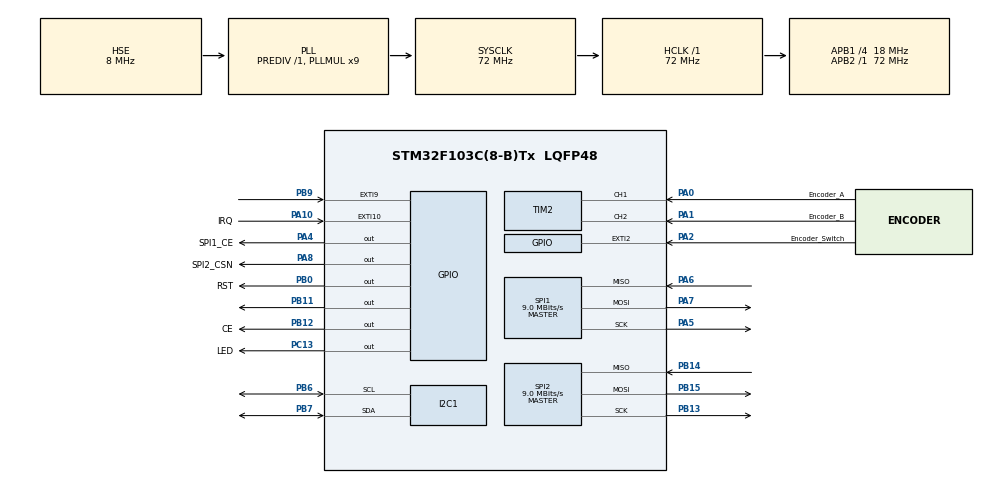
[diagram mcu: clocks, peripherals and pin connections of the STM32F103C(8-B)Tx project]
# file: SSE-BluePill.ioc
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I2C1.I2C_Mode=I2C_Fast
Mcu.Family=STM32F1
Mcu.Name=STM32F103C(8-B)Tx
Mcu.Package=LQFP48
NVIC.EXTI15_10_IRQn=true\:0\:0\:false\:false\:true\:true\:true\:true
NVIC.EXTI2_IRQn=true\:0\:0\:false\:false\:true\:true\:true\:true
NVIC.EXTI9_5_IRQn=true\:0\:0\:false\:false\:true\:true\:true\:true
NVIC.PriorityGroup=NVIC_PRIORITYGROUP_4
NVIC.TIM2_IRQn=true\:0\:0\:false\:false\:true\:true\:true\:true
NVIC.TIM3_IRQn=true\:0\:0\:true\:false\:true\:true\:true\:true
NVIC.TIM4_IRQn=true\:0\:0\:false\:false\:true\:true\:true\:true
PA0-WKUP.GPIO_Label=Encoder_A
PA0-WKUP.GPIO_PuPd=GPIO_PULLUP
PA0-WKUP.Signal=S_TIM2_CH1_ETR
PA1.GPIO_Label=Encoder_B
PA1.GPIO_PuPd=GPIO_PULLUP
PA1.Signal=S_TIM2_CH2
PA10.GPIO_Label=IRQ
PA10.GPIO_ModeDefaultEXTI=GPIO_MODE_IT_FALLING
PA10.Signal=GPXTI10
PA13.Mode=Serial_Wire
PA13.Signal=SYS_JTMS-SWDIO
PA14.Mode=Serial_Wire
PA14.Signal=SYS_JTCK-SWCLK
PA2.GPIO_Label=Encoder_Switch
PA2.GPIO_PuPd=GPIO_PULLUP
PA2.Signal=GPXTI2
PA4.GPIO_Label=SPI1_CE
PA4.GPIO_Speed=GPIO_SPEED_FREQ_HIGH
PA4.Signal=GPIO_Output
PA5.Mode=Full_Duplex_Master
PA5.Signal=SPI1_SCK
PA6.Mode=Full_Duplex_Master
PA6.Signal=SPI1_MISO
PA7.Mode=Full_Duplex_Master
PA7.Signal=SPI1_MOSI
PA8.GPIO_Label=SPI2_CSN
PA8.GPIO_Speed=GPIO_SPEED_FREQ_HIGH
PA8.PinState=GPIO_PIN_SET
PA8.Signal=GPIO_Output
PB0.GPIO_Label=RST
PB0.GPIO_Speed=GPIO_SPEED_FREQ_HIGH
PB0.PinState=GPIO_PIN_SET
PB0.Signal=GPIO_Output
PB11.GPIO_PuPd=GPIO_NOPULL
PB11.Signal=GPIO_Output
PB12.GPIO_Label=CE
PB12.GPIO_Speed=GPIO_SPEED_FREQ_HIGH
PB12.Signal=GPIO_Output
PB13.Mode=Full_Duplex_Master
PB13.Signal=SPI2_SCK
PB14.Mode=Full_Duplex_Master
PB14.Signal=SPI2_MISO
PB15.Mode=Full_Duplex_Master
PB15.Signal=SPI2_MOSI
PB6.Mode=I2C
PB6.Signal=I2C1_SCL
PB7.Mode=I2C
PB7.Signal=I2C1_SDA
PB9.GPIO_ModeDefaultEXTI=GPIO_MODE_IT_RISING_FALLING
PB9.Signal=GPXTI9
PC13-TAMPER-RTC.GPIO_Label=LED
PC13-TAMPER-RTC.Signal=GPIO_Output
PC14-OSC32_IN.Mode=LSE-External-Oscillator
PC14-OSC32_IN.Signal=RCC_OSC32_IN
PC15-OSC32_OUT.Mode=LSE-External-Oscillator
PC15-OSC32_OUT.Signal=RCC_OSC32_OUT
PD0-OSC_IN.Mode=HSE-External-Oscillator
PD0-OSC_IN.Signal=RCC_OSC_IN
PD1-OSC_OUT.Mode=HSE-External-Oscillator
PD1-OSC_OUT.Signal=RCC_OSC_OUT
ProjectManager.HeapSize=0x200
ProjectManager.StackSize=0x400
ProjectManager.TargetToolchain=STM32CubeIDE
RCC.AHBFreq_Value=72000000
RCC.APB1CLKDivider=RCC_HCLK_DIV4
RCC.APB1Freq_Value=18000000
RCC.APB1TimFreq_Value=36000000
RCC.APB2Freq_Value=72000000
RCC.APB2TimFreq_Value=72000000
RCC.HCLKFreq_Value=72000000
RCC.PLLMUL=RCC_PLL_MUL9
RCC.PLLSourceVirtual=RCC_PLLSOURCE_HSE
RCC.RTCClockSelection=RCC_RTCCLKSOURCE_LSE
RCC.SYSCLKFreq_VALUE=72000000
RCC.SYSCLKSource=RCC_SYSCLKSOURCE_PLLCLK
RCC.USBFreq_Value=72000000
SH.S_TIM2_CH1_ETR.0=TIM2_CH1,Encoder_Interface
SH.S_TIM2_CH2.0=TIM2_CH2,Encoder_Interface
SPI1.BaudRatePrescaler=SPI_BAUDRATEPRESCALER_8
SPI1.CalculateBaudRate=9.0 MBits/s
SPI1.Direction=SPI_DIRECTION_2LINES
SPI1.Mode=SPI_MODE_MASTER
SPI1.VirtualType=VM_MASTER
SPI2.BaudRatePrescaler=SPI_BAUDRATEPRESCALER_2
SPI2.CalculateBaudRate=9.0 MBits/s
SPI2.Direction=SPI_DIRECTION_2LINES
SPI2.Mode=SPI_MODE_MASTER
SPI2.VirtualType=VM_MASTER
TIM2.AutoReloadPreload=TIM_AUTORELOAD_PRELOAD_ENABLE
TIM2.EncoderMode=TIM_ENCODERMODE_TI12
TIM2.IC1Filter=10
TIM2.IC1Polarity=TIM_ICPOLARITY_RISING
TIM2.IC2Polarity=TIM_ICPOLARITY_RISING
TIM3.Period=36000 - 1
TIM3.Prescaler=0
TIM4.Period=30000
TIM4.Prescaler=36000 - 1
VP_TIM3_VS_ClockSourceINT.Mode=Internal
VP_TIM4_VS_ClockSourceINT.Mode=Internal
board=custom

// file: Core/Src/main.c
/* USER CODE BEGIN Header */
/**
  ******************************************************************************
  * @file           : main.c
  * @brief          : Main program body
  ******************************************************************************
  * @attention
  *
  * Copyright (c) 2024 STMicroelectronics.
  * All rights reserved.
  *
  * This software is licensed under terms that can be found in the LICENSE file
  * in the root directory of this software component.
  * If no LICENSE file comes with this software, it is provided AS-IS.
  *
  ******************************************************************************
  */
/* USER CODE END Header */
#include "main.h"
#include "i2c.h"
#include "spi.h"
#include "tim.h"
#include "gpio.h"

/* USER CODE BEGIN Includes */

#include "defines.h"
/* USER CODE END Includes */

/* USER CODE BEGIN PV */

uint8_t sNum[5];
uint16_t button=0;
static uint16_t milliseconds=0;
/* USER CODE END PV */

void SystemClock_Config(void);
/* USER CODE BEGIN PFP */
void received_message();
/* USER CODE END PFP */

/* USER CODE BEGIN 0 */
boolean RetFalse(){
	return False;
}

extern uint8_t rfidSymbol_idx;
extern uint8_t motionSymbol_idx;
/* USER CODE END 0 */

int main(void)
{

  /* MCU Configuration--------------------------------------------------------*/

  /* Reset of all peripherals, Initializes the Flash interface and the Systick. */
  HAL_Init();

  /* Configure the system clock */
  SystemClock_Config();

  /* Initialize all configured peripherals */
  MX_GPIO_Init();
  MX_TIM2_Init();
  MX_I2C1_Init();
  MX_SPI2_Init();
  MX_SPI1_Init();
  MX_TIM3_Init();
  MX_TIM4_Init();
  /* USER CODE BEGIN 2 */
  BSP_LCD_SetupParams_TypeDef lcd_params;
//  lcd_params.condition = BSP_HCSR501_Ready;
//  lcd_params.setup_time = (uint8_t) HCSR501_SETUP_SECONDS + HCSR501_SETUP_MINUTES*60;
//  lcd_params.seconds = &motion[4];
  lcd_params.condition = RetFalse;
  lcd_params.setup_time = 0;
  lcd_params.seconds = 0;

  BSP_ENCODER_Init();
  BSP_RC522_Init();
  BSP_LCD_Init(&lcd_params);
  BSP_LCD_SendMessage("Hola", 0, 0, true);

  BSP_RF_Params_TypeDef rf_params = {0};
  rf_params.channel = NRF24L01P_CHANNEL;
  rf_params.rate = NRF24L01P_RATE;
  rf_params.retransmit_count = NRF24L01P_RETRANSMIT_COUNT;
  BSP_RF_Init(&rf_params);
  BSP_RF_Listening();
  HAL_GPIO_WritePin(GPIOC, LED_Pin, GPIO_PIN_SET);
  NVIC_ClearPendingIRQ(EXTI15_10_IRQn);
  uint8_t last_state = 0;
  uint8_t waiting = 1;

  app_init();
  /* USER CODE END 2 */

  /* Infinite loop */
  /* USER CODE BEGIN WHILE */
  while (1)
  {

	  app();
    /* USER CODE END WHILE */

  }
}

void SystemClock_Config(void)
{
  RCC_OscInitTypeDef RCC_OscInitStruct = {0};
  RCC_ClkInitTypeDef RCC_ClkInitStruct = {0};

  /** Initializes the RCC Oscillators according to the specified parameters
  * in the RCC_OscInitTypeDef structure.
  */
  RCC_OscInitStruct.OscillatorType = RCC_OSCILLATORTYPE_HSE;
  RCC_OscInitStruct.HSEState = RCC_HSE_ON;
  RCC_OscInitStruct.HSEPredivValue = RCC_HSE_PREDIV_DIV1;
  RCC_OscInitStruct.HSIState = RCC_HSI_ON;
  RCC_OscInitStruct.PLL.PLLState = RCC_PLL_ON;
  RCC_OscInitStruct.PLL.PLLSource = RCC_PLLSOURCE_HSE;
  RCC_OscInitStruct.PLL.PLLMUL = RCC_PLL_MUL9;
  if (HAL_RCC_OscConfig(&RCC_OscInitStruct) != HAL_OK)
  {
    Error_Handler();
  }

  /** Initializes the CPU, AHB and APB buses clocks
  */
  RCC_ClkInitStruct.ClockType = RCC_CLOCKTYPE_HCLK|RCC_CLOCKTYPE_SYSCLK
                              |RCC_CLOCKTYPE_PCLK1|RCC_CLOCKTYPE_PCLK2;
  RCC_ClkInitStruct.SYSCLKSource = RCC_SYSCLKSOURCE_PLLCLK;
  RCC_ClkInitStruct.AHBCLKDivider = RCC_SYSCLK_DIV1;
  RCC_ClkInitStruct.APB1CLKDivider = RCC_HCLK_DIV4;
  RCC_ClkInitStruct.APB2CLKDivider = RCC_HCLK_DIV1;

  if (HAL_RCC_ClockConfig(&RCC_ClkInitStruct, FLASH_LATENCY_2) != HAL_OK)
  {
    Error_Handler();
  }
}

/* USER CODE BEGIN 4 */

void received_message()
{
	if(!BSP_RF_IrqHandler())
		return;
	HAL_GPIO_TogglePin(GPIOD, LED_Pin);
	APP_SETFLAG(MESSAGE_RECEIVED, true);
	HAL_GPIO_TogglePin(GPIOD, LED_Pin);
}
void HAL_GPIO_EXTI_Callback(uint16_t GPIO_Pin)
{

	if(GPIO_Pin == HCSR501_PIN){
		if(BSP_HCSR501_Ready()){

			SET_FIELD(GET_APP_DATA(), motion_status, BSP_HCSR501_Read());
			if(!GET_APP_DATA()->motion_status){
				APP_SETFLAG(UPDATE_MOTION, True);
			}

//				HAL_TIM_Base_Start_IT(&htim4);
//				BSP_HCSR501_OffTime();
		}
	}

	if(GPIO_Pin == GPIO_PIN_2){
		static volatile uint32_t last_interrupt_time = 0;
		uint32_t current_time = HAL_GetTick();
		 if (current_time - last_interrupt_time < DEBOUNCE_DELAY) {
				 return;
		 } last_interrupt_time = current_time;

		 APP_SETFLAG(BUTTON_PRESSED, True);
	}

	if(GPIO_Pin == NRF24L01P_IRQ_PIN_NUMBER)
	{
		received_message();
	}
}

void HAL_TIM_PeriodElapsedCallback(TIM_HandleTypeDef *htim){

	if(htim == &htim4){
		BSP_HCSR501_Init();
		HAL_TIM_Base_Stop_IT(&htim4);
		return;
	}

	milliseconds++;
	static uint16_t seconds = 0;
	static uint16_t milliseconds2 = 0;
	static uint16_t minutes = 0;
	static boolean triggered = False;
	milliseconds2++;
	seconds += milliseconds2 / 1000;
	milliseconds2 %= 1000;
	minutes = seconds / 60;
	seconds %= 60;
	if(minutes >= HCSR501_SETUP_MINUTES && seconds >= HCSR501_SETUP_SECONDS && !triggered){
		BSP_HCSR501_Init();
		triggered = True;
	}

	BSP_Countdown();
	if(BSP_GetCounter() <= 0){
		APP_SETFLAG(IS_CARD_COOLDOWN, False);
		BSP_LCD_UPDATE_STATUS(rfidSymbol_idx, True);
		BSP_LCD_SendMessage("Lector", 0, 0, True);
		BSP_LCD_SendMessage("Disponible", 0, 1, False);
	}
	if(BSP_GetCounter() == 5000){
		BSP_LCD_SendMessage("Espera...", 0, 0, True);
	}

	if(milliseconds % (MOTION_ACTIVITY_RANGE_SECONDS * 1000) == 0){

		SET_FIELD(GET_APP_DATA(), motion_activity, GET_APP_DATA()->motion_status == 1 ? GET_APP_DATA()->motion_activity+1 : 0);
		if(GET_APP_DATA()->motion_activity == MOTION_ACTIVITY_MINIMUM){
			APP_SETFLAG(UPDATE_MOTION, True);
		}

	}

}

uint16_t GetMS(void){
	return milliseconds;
}
/* USER CODE END 4 */

void Error_Handler(void)
{
  __disable_irq();
  while (1)
  {
  }
}
